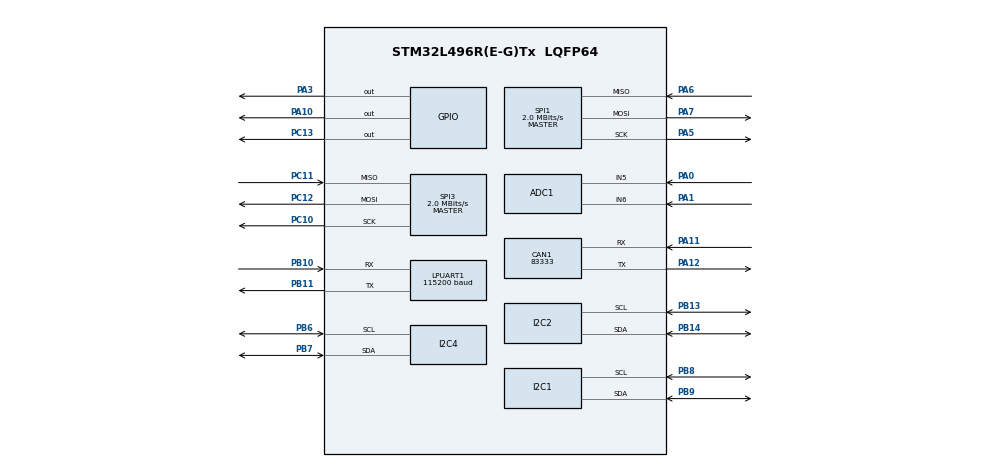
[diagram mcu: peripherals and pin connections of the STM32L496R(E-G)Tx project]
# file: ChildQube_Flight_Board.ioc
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ADC1.Channel-1\#ChannelRegularConversion=ADC_CHANNEL_5
ADC1.NbrOfConversionFlag=1
ADC1.OffsetNumber-1\#ChannelRegularConversion=ADC_OFFSET_NONE
ADC1.Rank-1\#ChannelRegularConversion=1
ADC1.SamplingTime-1\#ChannelRegularConversion=ADC_SAMPLETIME_2CYCLES_5
ADC1.SingleDiff-1\#ChannelRegularConversion=ADC_DIFFERENTIAL_ENDED
ADC1.master=1
CAN1.CalculateBaudRate=83333
CAN1.CalculateTimeBit=12000
CAN1.CalculateTimeQuantum=4000.0
I2C1.Timing=0x00100D14
I2C2.Timing=0x00100D14
I2C4.Timing=0x00100D14
LPUART1.BaudRate=115200
LPUART1.SwapParam=UART_ADVFEATURE_SWAP_ENABLE
LPUART1.WordLength=UART_WORDLENGTH_8B
Mcu.Family=STM32L4
Mcu.Name=STM32L496R(E-G)Tx
Mcu.Package=LQFP64
NVIC.PriorityGroup=NVIC_PRIORITYGROUP_4
PA0.Signal=ADCx_IN5
PA1.Signal=ADCx_IN6
PA10.Signal=GPIO_Output
PA11.Mode=CAN_Activate
PA11.Signal=CAN1_RX
PA12.Mode=CAN_Activate
PA12.Signal=CAN1_TX
PA3.Signal=GPIO_Output
PA4.Signal=SPI3_NSS
PA5.Mode=Full_Duplex_Master
PA5.Signal=SPI1_SCK
PA6.Mode=Full_Duplex_Master
PA6.Signal=SPI1_MISO
PA7.Mode=Full_Duplex_Master
PA7.Signal=SPI1_MOSI
PA9.Signal=SPI2_SCK
PB0.Signal=SPI1_NSS
PB10.Mode=Asynchronous
PB10.Signal=LPUART1_RX
PB11.Mode=Asynchronous
PB11.Signal=LPUART1_TX
PB12.Signal=SPI2_NSS
PB13.Mode=I2C
PB13.Signal=I2C2_SCL
PB14.Mode=I2C
PB14.Signal=I2C2_SDA
PB3\ (JTDO/TRACESWO).Signal=SYS_JTDO-SWO
PB6.Mode=I2C
PB6.Signal=I2C4_SCL
PB7.Mode=I2C
PB7.Signal=I2C4_SDA
PB8.Mode=I2C
PB8.Signal=I2C1_SCL
PB9.Mode=I2C
PB9.Signal=I2C1_SDA
PC0.Signal=I2C3_SCL
PC1.Signal=I2C3_SDA
PC10.Mode=Full_Duplex_Master
PC10.Signal=SPI3_SCK
PC11.Mode=Full_Duplex_Master
PC11.Signal=SPI3_MISO
PC12.Mode=Full_Duplex_Master
PC12.Signal=SPI3_MOSI
PC13.Signal=GPIO_Output
PC2.Signal=SPI2_MISO
PC3.Signal=SPI2_MOSI
ProjectManager.HeapSize=0x200
ProjectManager.StackSize=0x400
ProjectManager.TargetToolchain=STM32CubeIDE
RCC.ADCFreq_Value=32000000
RCC.HSE_VALUE=8000000
RCC.HSI48_VALUE=48000000
RCC.HSI_VALUE=16000000
RCC.LSE_VALUE=32768
RCC.MSI_VALUE=4000000
RCC.PLLSAI1N=16
RCC.USBFreq_Value=32000000
RCC.VCOOutputFreq_Value=32000000
SH.ADCx_IN5.0=ADC1_IN5,IN5-Differential
SH.ADCx_IN6.0=ADC1_IN6,IN5-Differential
SPI1.CalculateBaudRate=2.0 MBits/s
SPI1.Direction=SPI_DIRECTION_2LINES
SPI1.Mode=SPI_MODE_MASTER
SPI1.VirtualType=VM_MASTER
SPI3.CalculateBaudRate=2.0 MBits/s
SPI3.Direction=SPI_DIRECTION_2LINES
SPI3.Mode=SPI_MODE_MASTER
SPI3.VirtualType=VM_MASTER
board=custom

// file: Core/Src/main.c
/* USER CODE BEGIN Header */
/**
  ******************************************************************************
  * @file           : main.c
  * @brief          : Main program body
  ******************************************************************************
  * @attention
  *
  * Copyright (c) 2026 STMicroelectronics.
  * All rights reserved.
  *
  * This software is licensed under terms that can be found in the LICENSE file
  * in the root directory of this software component.
  * If no LICENSE file comes with this software, it is provided AS-IS.
  *
  ******************************************************************************
  */
/* USER CODE END Header */
#include "main.h"

/* USER CODE BEGIN Includes */
#include "../../Drivers/Voltage_Reader/Inc/battery_reader.h"
#include <stdio.h>
/* USER CODE END Includes */

ADC_HandleTypeDef hadc1;

CAN_HandleTypeDef hcan1;

I2C_HandleTypeDef hi2c1;
I2C_HandleTypeDef hi2c2;
I2C_HandleTypeDef hi2c4;

UART_HandleTypeDef hlpuart1;

SPI_HandleTypeDef hspi1;
SPI_HandleTypeDef hspi3;

void SystemClock_Config(void);
static void MX_GPIO_Init(void);
static void MX_CAN1_Init(void);
static void MX_I2C1_Init(void);
static void MX_I2C2_Init(void);
static void MX_I2C4_Init(void);
static void MX_SPI1_Init(void);
static void MX_SPI3_Init(void);
static void MX_ADC1_Init(void);
static void MX_LPUART1_UART_Init(void);
/* USER CODE BEGIN PFP */
#define PUTCHAR_PROTOTYPE int __io_putchar(int ch)
/* USER CODE END PFP */

int main(void)
{

  /* MCU Configuration--------------------------------------------------------*/

  /* Reset of all peripherals, Initializes the Flash interface and the Systick. */
	HAL_Init();

  /* Configure the system clock */
  SystemClock_Config();

  /* Initialize all configured peripherals */
  MX_GPIO_Init();
  MX_CAN1_Init();
  MX_I2C1_Init();
  MX_I2C2_Init();
  MX_I2C4_Init();
  MX_SPI1_Init();
  MX_SPI3_Init();
  MX_ADC1_Init();
  MX_LPUART1_UART_Init();
  /* USER CODE BEGIN 2 */
  if (BatteryReader_Init(&hi2c2) != HAL_OK) {
       printf("Battery charger chip not found on I2C2\r\n");
   } else {
       printf("Battery charger chip found\r\n");
   }
   HAL_Delay(200);   // let the charger's ADC finish its first measurement

   BatteryReader_SetTempThreshold(&hi2c2, 12);
  /* USER CODE END 2 */

  /* Infinite loop */
  /* USER CODE BEGIN WHILE */
   while (1)
     {
         uint32_t voltage_mv;
         int32_t current_ma;
         ChargerState state;
         uint8_t plugged_in;

         if (BatteryReader_ReadVoltage_mV(&hi2c2, &voltage_mv) == HAL_OK)
             printf("Battery voltage: %lu.%03lu V\r\n", voltage_mv / 1000, voltage_mv % 1000);
         else
             printf("Battery voltage: I2C read failed\r\n");

         if (BatteryReader_ReadCurrent_mA(&hi2c2, &current_ma) == HAL_OK)
             printf("Battery current: %ld mA\r\n", (long)current_ma);

         if (BatteryReader_ReadState(&hi2c2, &state) == HAL_OK)
             printf("Charge state: %s\r\n", BatteryReader_StateName(state));

         if (BatteryReader_IsChargerPluggedIn(&hi2c2, &plugged_in) == HAL_OK)
             printf("Charger plugged in: %s\r\n", plugged_in ? "yes" : "no");

         BatteryReader_ReadChargeStatus3_And_Fault_Status(&hi2c2);

         printf("----------------------\r\n");
         HAL_Delay(1000);

    /* USER CODE END WHILE */

  }
}

void SystemClock_Config(void)
{
  RCC_OscInitTypeDef RCC_OscInitStruct = {0};
  RCC_ClkInitTypeDef RCC_ClkInitStruct = {0};

  /** Configure the main internal regulator output voltage
  */
  if (HAL_PWREx_ControlVoltageScaling(PWR_REGULATOR_VOLTAGE_SCALE1) != HAL_OK)
  {
    Error_Handler();
  }

  /** Initializes the RCC Oscillators according to the specified parameters
  * in the RCC_OscInitTypeDef structure.
  */
  RCC_OscInitStruct.OscillatorType = RCC_OSCILLATORTYPE_MSI;
  RCC_OscInitStruct.MSIState = RCC_MSI_ON;
  RCC_OscInitStruct.MSICalibrationValue = 0;
  RCC_OscInitStruct.MSIClockRange = RCC_MSIRANGE_6;
  RCC_OscInitStruct.PLL.PLLState = RCC_PLL_NONE;
  if (HAL_RCC_OscConfig(&RCC_OscInitStruct) != HAL_OK)
  {
    Error_Handler();
  }

  /** Initializes the CPU, AHB and APB buses clocks
  */
  RCC_ClkInitStruct.ClockType = RCC_CLOCKTYPE_HCLK|RCC_CLOCKTYPE_SYSCLK
                              |RCC_CLOCKTYPE_PCLK1|RCC_CLOCKTYPE_PCLK2;
  RCC_ClkInitStruct.SYSCLKSource = RCC_SYSCLKSOURCE_MSI;
  RCC_ClkInitStruct.AHBCLKDivider = RCC_SYSCLK_DIV1;
  RCC_ClkInitStruct.APB1CLKDivider = RCC_HCLK_DIV1;
  RCC_ClkInitStruct.APB2CLKDivider = RCC_HCLK_DIV1;

  if (HAL_RCC_ClockConfig(&RCC_ClkInitStruct, FLASH_LATENCY_0) != HAL_OK)
  {
    Error_Handler();
  }
}

static void MX_ADC1_Init(void)
{

  ADC_MultiModeTypeDef multimode = {0};
  ADC_ChannelConfTypeDef sConfig = {0};

  /** Common config
  */
  hadc1.Instance = ADC1;
  hadc1.Init.ClockPrescaler = ADC_CLOCK_ASYNC_DIV1;
  hadc1.Init.Resolution = ADC_RESOLUTION_12B;
  hadc1.Init.DataAlign = ADC_DATAALIGN_RIGHT;
  hadc1.Init.ScanConvMode = ADC_SCAN_DISABLE;
  hadc1.Init.EOCSelection = ADC_EOC_SINGLE_CONV;
  hadc1.Init.LowPowerAutoWait = DISABLE;
  hadc1.Init.ContinuousConvMode = DISABLE;
  hadc1.Init.NbrOfConversion = 1;
  hadc1.Init.DiscontinuousConvMode = DISABLE;
  hadc1.Init.ExternalTrigConv = ADC_SOFTWARE_START;
  hadc1.Init.ExternalTrigConvEdge = ADC_EXTERNALTRIGCONVEDGE_NONE;
  hadc1.Init.DMAContinuousRequests = DISABLE;
  hadc1.Init.Overrun = ADC_OVR_DATA_PRESERVED;
  hadc1.Init.OversamplingMode = DISABLE;
  if (HAL_ADC_Init(&hadc1) != HAL_OK)
  {
    Error_Handler();
  }

  /** Configure the ADC multi-mode
  */
  multimode.Mode = ADC_MODE_INDEPENDENT;
  if (HAL_ADCEx_MultiModeConfigChannel(&hadc1, &multimode) != HAL_OK)
  {
    Error_Handler();
  }

  /** Configure Regular Channel
  */
  sConfig.Channel = ADC_CHANNEL_5;
  sConfig.Rank = ADC_REGULAR_RANK_1;
  sConfig.SamplingTime = ADC_SAMPLETIME_2CYCLES_5;
  sConfig.SingleDiff = ADC_DIFFERENTIAL_ENDED;
  sConfig.OffsetNumber = ADC_OFFSET_NONE;
  sConfig.Offset = 0;
  if (HAL_ADC_ConfigChannel(&hadc1, &sConfig) != HAL_OK)
  {
    Error_Handler();
  }

}

static void MX_CAN1_Init(void)
{

  hcan1.Instance = CAN1;
  hcan1.Init.Prescaler = 16;
  hcan1.Init.Mode = CAN_MODE_NORMAL;
  hcan1.Init.SyncJumpWidth = CAN_SJW_1TQ;
  hcan1.Init.TimeSeg1 = CAN_BS1_1TQ;
  hcan1.Init.TimeSeg2 = CAN_BS2_1TQ;
  hcan1.Init.TimeTriggeredMode = DISABLE;
  hcan1.Init.AutoBusOff = DISABLE;
  hcan1.Init.AutoWakeUp = DISABLE;
  hcan1.Init.AutoRetransmission = DISABLE;
  hcan1.Init.ReceiveFifoLocked = DISABLE;
  hcan1.Init.TransmitFifoPriority = DISABLE;
  if (HAL_CAN_Init(&hcan1) != HAL_OK)
  {
    Error_Handler();
  }

}

static void MX_I2C1_Init(void)
{

  hi2c1.Instance = I2C1;
  hi2c1.Init.Timing = 0x00100D14;
  hi2c1.Init.OwnAddress1 = 0;
  hi2c1.Init.AddressingMode = I2C_ADDRESSINGMODE_7BIT;
  hi2c1.Init.DualAddressMode = I2C_DUALADDRESS_DISABLE;
  hi2c1.Init.OwnAddress2 = 0;
  hi2c1.Init.OwnAddress2Masks = I2C_OA2_NOMASK;
  hi2c1.Init.GeneralCallMode = I2C_GENERALCALL_DISABLE;
  hi2c1.Init.NoStretchMode = I2C_NOSTRETCH_DISABLE;
  if (HAL_I2C_Init(&hi2c1) != HAL_OK)
  {
    Error_Handler();
  }

  /** Configure Analogue filter
  */
  if (HAL_I2CEx_ConfigAnalogFilter(&hi2c1, I2C_ANALOGFILTER_ENABLE) != HAL_OK)
  {
    Error_Handler();
  }

  /** Configure Digital filter
  */
  if (HAL_I2CEx_ConfigDigitalFilter(&hi2c1, 0) != HAL_OK)
  {
    Error_Handler();
  }

}

static void MX_I2C2_Init(void)
{

  hi2c2.Instance = I2C2;
  hi2c2.Init.Timing = 0x00100D14;
  hi2c2.Init.OwnAddress1 = 0;
  hi2c2.Init.AddressingMode = I2C_ADDRESSINGMODE_7BIT;
  hi2c2.Init.DualAddressMode = I2C_DUALADDRESS_DISABLE;
  hi2c2.Init.OwnAddress2 = 0;
  hi2c2.Init.OwnAddress2Masks = I2C_OA2_NOMASK;
  hi2c2.Init.GeneralCallMode = I2C_GENERALCALL_DISABLE;
  hi2c2.Init.NoStretchMode = I2C_NOSTRETCH_DISABLE;
  if (HAL_I2C_Init(&hi2c2) != HAL_OK)
  {
    Error_Handler();
  }

  /** Configure Analogue filter
  */
  if (HAL_I2CEx_ConfigAnalogFilter(&hi2c2, I2C_ANALOGFILTER_ENABLE) != HAL_OK)
  {
    Error_Handler();
  }

  /** Configure Digital filter
  */
  if (HAL_I2CEx_ConfigDigitalFilter(&hi2c2, 0) != HAL_OK)
  {
    Error_Handler();
  }

}

static void MX_I2C4_Init(void)
{

  hi2c4.Instance = I2C4;
  hi2c4.Init.Timing = 0x00100D14;
  hi2c4.Init.OwnAddress1 = 0;
  hi2c4.Init.AddressingMode = I2C_ADDRESSINGMODE_7BIT;
  hi2c4.Init.DualAddressMode = I2C_DUALADDRESS_DISABLE;
  hi2c4.Init.OwnAddress2 = 0;
  hi2c4.Init.OwnAddress2Masks = I2C_OA2_NOMASK;
  hi2c4.Init.GeneralCallMode = I2C_GENERALCALL_DISABLE;
  hi2c4.Init.NoStretchMode = I2C_NOSTRETCH_DISABLE;
  if (HAL_I2C_Init(&hi2c4) != HAL_OK)
  {
    Error_Handler();
  }

  /** Configure Analogue filter
  */
  if (HAL_I2CEx_ConfigAnalogFilter(&hi2c4, I2C_ANALOGFILTER_ENABLE) != HAL_OK)
  {
    Error_Handler();
  }

  /** Configure Digital filter
  */
  if (HAL_I2CEx_ConfigDigitalFilter(&hi2c4, 0) != HAL_OK)
  {
    Error_Handler();
  }

}

static void MX_LPUART1_UART_Init(void)
{

  hlpuart1.Instance = LPUART1;
  hlpuart1.Init.BaudRate = 115200;
  hlpuart1.Init.WordLength = UART_WORDLENGTH_8B;
  hlpuart1.Init.StopBits = UART_STOPBITS_1;
  hlpuart1.Init.Parity = UART_PARITY_NONE;
  hlpuart1.Init.Mode = UART_MODE_TX_RX;
  hlpuart1.Init.HwFlowCtl = UART_HWCONTROL_NONE;
  hlpuart1.Init.OneBitSampling = UART_ONE_BIT_SAMPLE_DISABLE;
  hlpuart1.AdvancedInit.AdvFeatureInit = UART_ADVFEATURE_SWAP_INIT;
  hlpuart1.AdvancedInit.Swap = UART_ADVFEATURE_SWAP_ENABLE;
  if (HAL_UART_Init(&hlpuart1) != HAL_OK)
  {
    Error_Handler();
  }

}

static void MX_SPI1_Init(void)
{

  /* SPI1 parameter configuration*/
  hspi1.Instance = SPI1;
  hspi1.Init.Mode = SPI_MODE_MASTER;
  hspi1.Init.Direction = SPI_DIRECTION_2LINES;
  hspi1.Init.DataSize = SPI_DATASIZE_4BIT;
  hspi1.Init.CLKPolarity = SPI_POLARITY_LOW;
  hspi1.Init.CLKPhase = SPI_PHASE_1EDGE;
  hspi1.Init.NSS = SPI_NSS_SOFT;
  hspi1.Init.BaudRatePrescaler = SPI_BAUDRATEPRESCALER_2;
  hspi1.Init.FirstBit = SPI_FIRSTBIT_MSB;
  hspi1.Init.TIMode = SPI_TIMODE_DISABLE;
  hspi1.Init.CRCCalculation = SPI_CRCCALCULATION_DISABLE;
  hspi1.Init.CRCPolynomial = 7;
  hspi1.Init.CRCLength = SPI_CRC_LENGTH_DATASIZE;
  hspi1.Init.NSSPMode = SPI_NSS_PULSE_ENABLE;
  if (HAL_SPI_Init(&hspi1) != HAL_OK)
  {
    Error_Handler();
  }

}

static void MX_SPI3_Init(void)
{

  /* SPI3 parameter configuration*/
  hspi3.Instance = SPI3;
  hspi3.Init.Mode = SPI_MODE_MASTER;
  hspi3.Init.Direction = SPI_DIRECTION_2LINES;
  hspi3.Init.DataSize = SPI_DATASIZE_4BIT;
  hspi3.Init.CLKPolarity = SPI_POLARITY_LOW;
  hspi3.Init.CLKPhase = SPI_PHASE_1EDGE;
  hspi3.Init.NSS = SPI_NSS_SOFT;
  hspi3.Init.BaudRatePrescaler = SPI_BAUDRATEPRESCALER_2;
  hspi3.Init.FirstBit = SPI_FIRSTBIT_MSB;
  hspi3.Init.TIMode = SPI_TIMODE_DISABLE;
  hspi3.Init.CRCCalculation = SPI_CRCCALCULATION_DISABLE;
  hspi3.Init.CRCPolynomial = 7;
  hspi3.Init.CRCLength = SPI_CRC_LENGTH_DATASIZE;
  hspi3.Init.NSSPMode = SPI_NSS_PULSE_ENABLE;
  if (HAL_SPI_Init(&hspi3) != HAL_OK)
  {
    Error_Handler();
  }

}

static void MX_GPIO_Init(void)
{
  GPIO_InitTypeDef GPIO_InitStruct = {0};

  /* GPIO Ports Clock Enable */
  __HAL_RCC_GPIOC_CLK_ENABLE();
  __HAL_RCC_GPIOA_CLK_ENABLE();
  __HAL_RCC_GPIOB_CLK_ENABLE();

  /*Configure GPIO pin Output Level */
  HAL_GPIO_WritePin(GPIOC, GPIO_PIN_13, GPIO_PIN_RESET);

  /*Configure GPIO pin Output Level */
  HAL_GPIO_WritePin(GPIOA, GPIO_PIN_3|GPIO_PIN_10, GPIO_PIN_RESET);

  /*Configure GPIO pin : PC13 */
  GPIO_InitStruct.Pin = GPIO_PIN_13;
  GPIO_InitStruct.Mode = GPIO_MODE_OUTPUT_PP;
  GPIO_InitStruct.Pull = GPIO_NOPULL;
  GPIO_InitStruct.Speed = GPIO_SPEED_FREQ_LOW;
  HAL_GPIO_Init(GPIOC, &GPIO_InitStruct);

  /*Configure GPIO pins : PC0 PC1 */
  GPIO_InitStruct.Pin = GPIO_PIN_0|GPIO_PIN_1;
  GPIO_InitStruct.Mode = GPIO_MODE_AF_OD;
  GPIO_InitStruct.Pull = GPIO_NOPULL;
  GPIO_InitStruct.Speed = GPIO_SPEED_FREQ_VERY_HIGH;
  GPIO_InitStruct.Alternate = GPIO_AF4_I2C3;
  HAL_GPIO_Init(GPIOC, &GPIO_InitStruct);

  /*Configure GPIO pins : PC2 PC3 */
  GPIO_InitStruct.Pin = GPIO_PIN_2|GPIO_PIN_3;
  GPIO_InitStruct.Mode = GPIO_MODE_AF_PP;
  GPIO_InitStruct.Pull = GPIO_NOPULL;
  GPIO_InitStruct.Speed = GPIO_SPEED_FREQ_VERY_HIGH;
  GPIO_InitStruct.Alternate = GPIO_AF5_SPI2;
  HAL_GPIO_Init(GPIOC, &GPIO_InitStruct);

  /*Configure GPIO pins : PA3 PA10 */
  GPIO_InitStruct.Pin = GPIO_PIN_3|GPIO_PIN_10;
  GPIO_InitStruct.Mode = GPIO_MODE_OUTPUT_PP;
  GPIO_InitStruct.Pull = GPIO_NOPULL;
  GPIO_InitStruct.Speed = GPIO_SPEED_FREQ_LOW;
  HAL_GPIO_Init(GPIOA, &GPIO_InitStruct);

  /*Configure GPIO pin : PB12 */
  GPIO_InitStruct.Pin = GPIO_PIN_12;
  GPIO_InitStruct.Mode = GPIO_MODE_AF_PP;
  GPIO_InitStruct.Pull = GPIO_NOPULL;
  GPIO_InitStruct.Speed = GPIO_SPEED_FREQ_VERY_HIGH;
  GPIO_InitStruct.Alternate = GPIO_AF5_SPI2;
  HAL_GPIO_Init(GPIOB, &GPIO_InitStruct);

  /*Configure GPIO pin : PA9 */
  GPIO_InitStruct.Pin = GPIO_PIN_9;
  GPIO_InitStruct.Mode = GPIO_MODE_AF_PP;
  GPIO_InitStruct.Pull = GPIO_NOPULL;
  GPIO_InitStruct.Speed = GPIO_SPEED_FREQ_VERY_HIGH;
  GPIO_InitStruct.Alternate = GPIO_AF3_SPI2;
  HAL_GPIO_Init(GPIOA, &GPIO_InitStruct);

}

/* USER CODE BEGIN 4 */
/**
* @brief Retargets the C library printf function to the USART.
* None
* @retval None
*/
PUTCHAR_PROTOTYPE
{
/* Place your implementation of fputc here */
/* e.g. write a character to the USART1 and Loop until the end of transmission */
HAL_UART_Transmit(&hlpuart1, (uint8_t *)&ch, 1, 0xFFFF);
return ch;
}
/* USER CODE END 4 */

void Error_Handler(void)
{
  __disable_irq();
  while (1)
  {
  }
}
